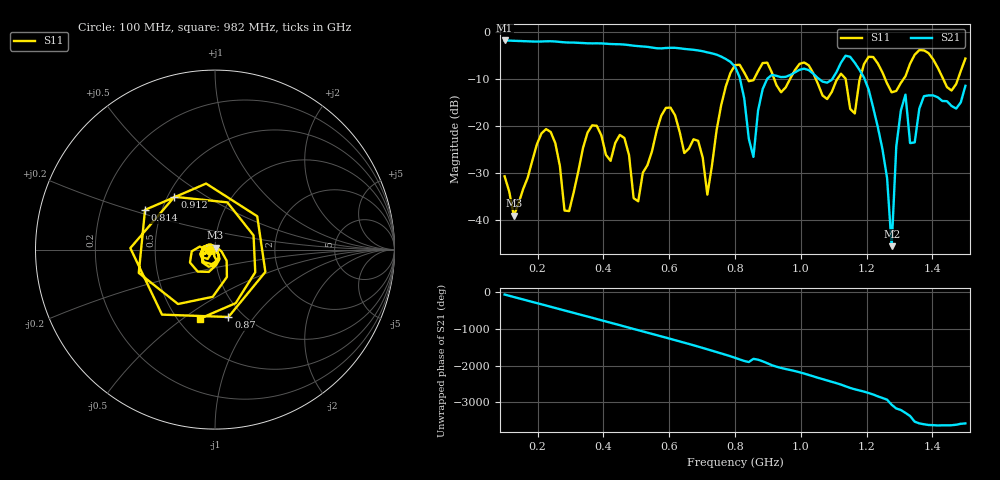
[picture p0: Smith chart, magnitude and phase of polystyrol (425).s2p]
! NanoVNA-App
! Date: 2025-09-25 15:33:12
! Start: 100MHz Stop: 1,5GHz Points: 101
! S-Parameter data: F S11 S21 S12 S22
# Hz S RI R 50
!  Frequency  S11_Real  S11_Imag  S21_Real  S21_Imag  S12_Real  S12_Imag  S22_Real  S22_Imag
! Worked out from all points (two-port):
!   101 points, 100 MHz to 1.5 GHz, reference 50 ohm
!   highest |S21| = -1.80 dB at 100 MHz (marker M1); lowest = -45.6 dB at 1.276 GHz (marker M2)
!   |S21| within 3 dB of the highest: start of sweep to 743.2 MHz
!   lowest |S11| = -39.1 dB at 128 MHz (marker M3), VSWR 1.02, Z = 50.3 + j1.06 ohm
!   |S11| at or under -10 dB: start of sweep to 779.7 MHz; 1.046 GHz to 1.111 GHz (65.64 MHz wide, 6.09 % of centre); 1.256 GHz to 1.312 GHz (55.7 MHz wide, 4.34 % of centre) (the widest 3 of 7)
!   S12 and S22 are empty: the file has one direction only
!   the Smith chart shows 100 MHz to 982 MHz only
!   S11 on the Smith chart (normalised r, x): 100 MHz: 0.94, -0.01; 814 MHz: 0.40, +0.22; 870 MHz: 0.86, -0.75; 912 MHz: 0.54, +0.37; 982 MHz: 0.64, -0.58
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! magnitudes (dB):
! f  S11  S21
! 100 MHz  -30.7  -1.8
! 128 MHz  -39.1  -1.9
! 212 MHz  -21.6  -2.0
! 282 MHz  -38.0  -2.2
! 338 MHz  -24.7  -2.3
! 464 MHz  -22.5  -2.7
! 506 MHz  -36.0  -3.0
! 576 MHz  -17.8  -3.5
! 716 MHz  -34.6  -4.3
! 800 MHz  -7.0  -7.4
! 814 MHz  -7.0  -9.6
! 856 MHz  -10.3  -26.6
! 870 MHz  -8.3  -16.7
! 912 MHz  -8.6  -9.1
! 982 MHz  -8.1  -8.6
! 1.038 GHz  -8.8  -8.9
! 1.192 GHz  -6.8  -9.7
! 1.276 GHz  -12.8  -45.6
! 1.29 GHz  -12.5  -24.4
! 1.318 GHz  -9.4  -13.3
! 1.332 GHz  -6.7  -23.6
! 1.5 GHz  -5.7  -11.4
